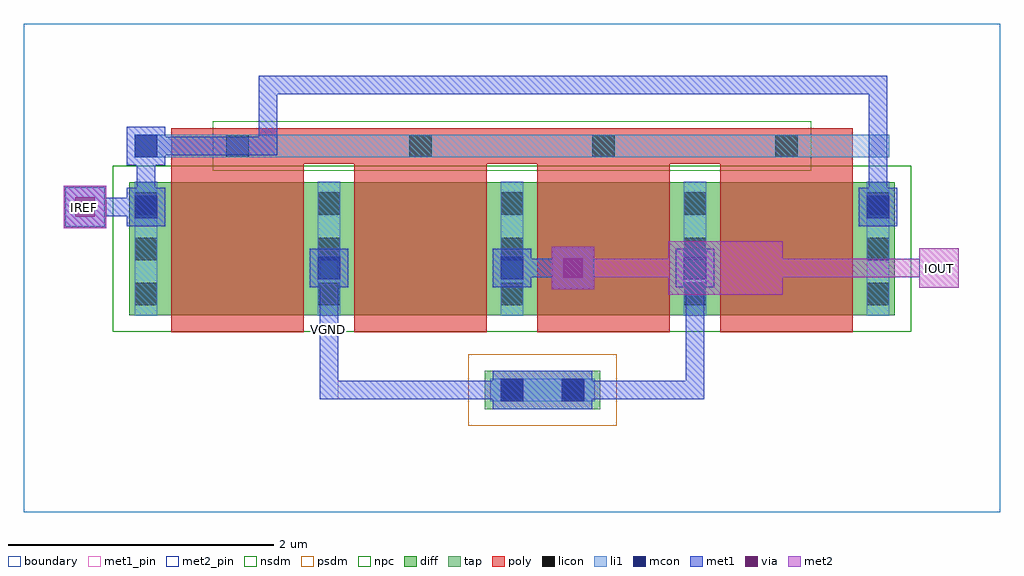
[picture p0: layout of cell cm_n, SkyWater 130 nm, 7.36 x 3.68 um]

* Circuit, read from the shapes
.subckt cm_n IOUT IREF VGND
XM1 VGND IREF IREF VGND sky130_fd_pr__nfet_01v8 w=1 l=1 m=2
XM2 IOUT IREF VGND VGND sky130_fd_pr__nfet_01v8 w=1 l=1 m=2
.ends

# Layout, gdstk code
import gdstk
lib = gdstk.Library(unit=1e-6, precision=1e-09)
def R(c, l, rs):  # rectangles x0, y0, x1, y1
    for r in rs: c.add(gdstk.rectangle(r[:2], r[2:], *l))
def A(c, l, x, y, w, h, nx, ny, dx, dy):  # array of equal rectangles
    R(c, l, [(x+i*dx, y+j*dy, x+i*dx+w, y+j*dy+h) for i in range(nx) for j in range(ny)])
diff = (65, 20)
tap = (65, 44)
poly = (66, 20)
licon = (66, 44)
li1 = (67, 20)
mcon = (67, 44)
met1_pin = (68, 16)
met1 = (68, 20)
via = (68, 44)
met2_pin = (69, 16)
met2 = (69, 20)
nsdm = (93, 44)
psdm = (94, 20)
npc = (95, 20)
boundary = (235, 4)

cm_n = lib.new_cell('cm_n')
R(cm_n, diff, [(0.795,1.485,6.565,2.485)])
R(cm_n, tap, [(3.475,0.775,4.345,1.065)])
A(cm_n, poly, 1.11, 1.355, 1, 1.405, 4, 1, 1.38, 0)
R(cm_n, poly, [(1.11,2.625,6.25,2.895)])
A(cm_n, licon, 0.835, 1.56, 0.17, 0.17, 5, 3, 1.38, 0.34)
A(cm_n, licon, 1.525, 2.675, 0.17, 0.17, 4, 1, 1.38, 0)
R(cm_n, licon, [(3.595,0.835,3.765,1.005), (4.055,0.835,4.225,1.005)])
A(cm_n, li1, 0.835, 1.48, 0.17, 1.01, 5, 1, 1.38, 0)
R(cm_n, li1, [(3.515,0.835,4.305,1.005), (0.835,2.675,6.525,2.845)])
A(cm_n, mcon, 2.215, 1.755, 0.17, 0.17, 3, 1, 1.38, 0)
R(cm_n, mcon, [(3.595,0.835,3.765,1.005), (4.055,0.835,4.225,1.005), (0.835,2.215,1.005,2.385), (6.355,2.215,6.525,2.385), (0.835,2.675,1.005,2.845)])
R(cm_n, met1_pin, [(2.23,0.85,2.37,1.91)])
A(cm_n, met1, 2.155, 1.695, 0.29, 0.29, 3, 1, 1.38, 0)
R(cm_n, met1, [(3.535,0.775,4.285,1.065), (2.23,0.85,2.37,1.91), (2.23,0.85,3.75,0.99), (3.61,0.85,3.75,0.99), (3.61,0.85,5.13,0.99), (4.99,0.85,5.13,1.91), (3.98,1.68,4.3,2), (3.61,1.77,4.21,1.91), (0.3,2.14,0.62,2.46), (0.775,2.155,1.065,2.445), (6.295,2.155,6.585,2.445), (0.39,2.23,0.99,2.37), (0.85,2.23,0.99,2.83), (6.37,2.23,6.51,3.29), (0.775,2.615,1.065,2.905), (0.85,2.69,1.91,2.83), (1.77,2.69,1.91,3.29), (1.77,3.15,6.51,3.29)])
R(cm_n, via, [(4.065,1.765,4.215,1.915), (0.385,2.225,0.535,2.375)])
R(cm_n, met2_pin, [(6.75,1.69,7.05,1.99), (0.31,2.15,0.61,2.45)])
R(cm_n, met2, [(4.86,1.64,5.72,2.04), (3.98,1.68,4.3,2), (6.75,1.69,7.05,1.99), (4.07,1.77,5.13,1.91), (5.45,1.77,6.97,1.91), (6.83,1.77,6.97,1.91), (0.3,2.14,0.62,2.46), (0.31,2.15,0.61,2.45), (0.39,2.23,0.53,2.37)])
R(cm_n, nsdm, [(0.67,1.36,6.69,2.61)])
R(cm_n, psdm, [(3.35,0.65,4.47,1.19)])
R(cm_n, npc, [(1.425,2.575,5.935,2.945)])
R(cm_n, boundary, [(0,0,7.36,3.68)])
cm_n.add(gdstk.Label('VGND', (2.3,1.38), layer=68, texttype=5))
cm_n.add(gdstk.Label('IREF', (0.46,2.3), layer=69, texttype=5))
cm_n.add(gdstk.Label('IOUT', (6.9,1.84), layer=69, texttype=5))
cm_n.add(gdstk.Label('VGND', (2.3,1.38), layer=68, texttype=16))
cm_n.add(gdstk.Label('IREF', (0.46,2.3), layer=69, texttype=16))
cm_n.add(gdstk.Label('IOUT', (6.9,1.84), layer=69, texttype=16))

lib.write_gds('cm_n.gds')
